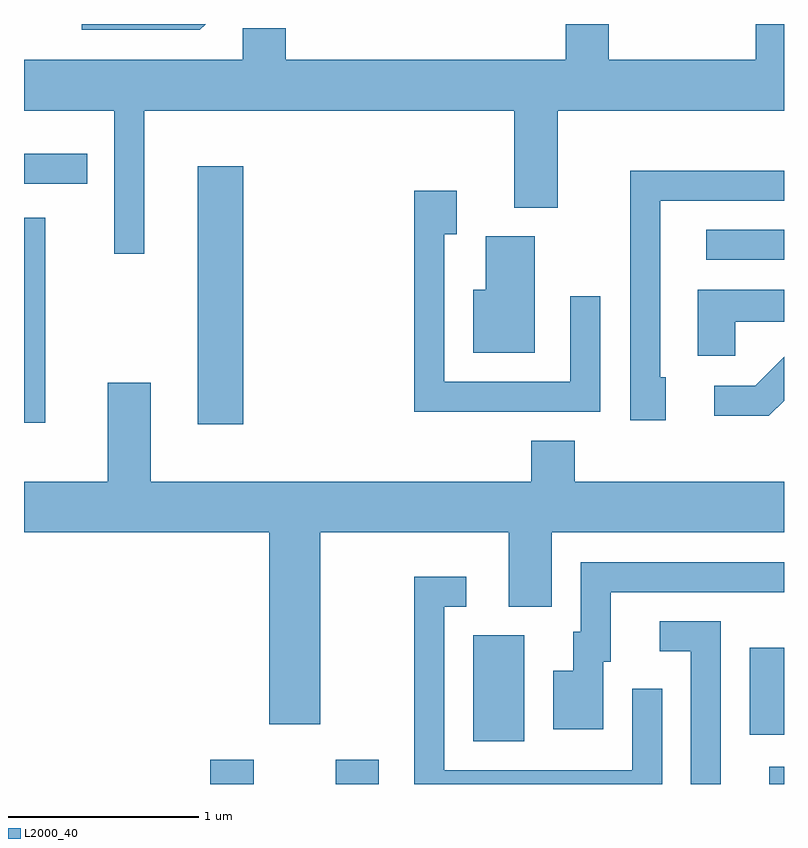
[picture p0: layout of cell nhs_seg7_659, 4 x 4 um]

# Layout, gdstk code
import gdstk
lib = gdstk.Library(unit=1e-6, precision=1e-09)
def R(c, l, rs):  # rectangles x0, y0, x1, y1
    for r in rs: c.add(gdstk.rectangle(r[:2], r[2:], *l))
def P(c, l, *ps):  # polygons
    for p in ps: c.add(gdstk.Polygon(p, *l))
L2000_40 = (2000, 40)

nhs_seg7_659 = lib.new_cell('nhs_seg7_659')
R(nhs_seg7_659, L2000_40, [(204.591,1786.252,204.819,1786.379), (205.251,1786.252,205.479,1786.379), (207.533,1786.252,207.611,1786.344), (205.976,1786.476,206.244,1787.034), (207.431,1786.511,207.611,1786.969), (204.526,1788.146,204.764,1789.504), (203.611,1788.153,203.724,1789.233), (207.203,1789.011,207.611,1789.169), (203.611,1789.411,203.943,1789.569)])
P(nhs_seg7_659, L2000_40, [(204.244,1789.796),(206.191,1789.796),(206.191,1789.286),(206.419,1789.286),(206.419,1789.796),(207.611,1789.796),(207.611,1790.252),(207.461,1790.252),(207.461,1790.064),(206.689,1790.064),(206.689,1790.252),(206.461,1790.252),(206.461,1790.064),(204.989,1790.064),(204.989,1790.229),(204.761,1790.229),(204.761,1790.064),(203.611,1790.064),(203.611,1789.796),(204.086,1789.796),(204.086,1789.043),(204.244,1789.043)],
  [(204.568,1790.252),(203.916,1790.252),(203.916,1790.221),(204.537,1790.221)],
  [(206.989,1788.394),(206.959,1788.394),(206.959,1789.321),(207.611,1789.321),(207.611,1789.479),(206.801,1789.479),(206.801,1788.166),(206.989,1788.166)],
  [(206.644,1788.818),(206.486,1788.818),(206.486,1788.369),(205.824,1788.369),(205.824,1789.146),(205.889,1789.146),(205.889,1789.374),(205.666,1789.374),(205.666,1788.211),(206.644,1788.211)],
  [(206.299,1789.134),(206.041,1789.134),(206.041,1788.854),(205.976,1788.854),(205.976,1788.521),(206.299,1788.521)],
  [(207.354,1788.686),(207.611,1788.686),(207.611,1788.854),(207.156,1788.854),(207.156,1788.506),(207.354,1788.506)],
  [(207.611,1788.27),(207.611,1788.501),(207.459,1788.349),(207.243,1788.349),(207.243,1788.191),(207.532,1788.191)],
  [(205.169,1787.576),(206.161,1787.576),(206.161,1787.186),(206.389,1787.186),(206.389,1787.576),(207.611,1787.576),(207.611,1787.844),(206.509,1787.844),(206.509,1788.059),(206.281,1788.059),(206.281,1787.844),(204.279,1787.844),(204.279,1788.364),(204.051,1788.364),(204.051,1787.844),(203.611,1787.844),(203.611,1787.576),(204.901,1787.576),(204.901,1786.566),(205.169,1786.566)],
  [(206.659,1786.896),(206.699,1786.896),(206.699,1787.261),(207.611,1787.261),(207.611,1787.419),(206.541,1787.419),(206.541,1787.054),(206.501,1787.054),(206.501,1786.849),(206.396,1786.849),(206.396,1786.541),(206.659,1786.541)],
  [(206.969,1786.753),(206.811,1786.753),(206.811,1786.324),(205.824,1786.324),(205.824,1787.186),(205.938,1787.186),(205.938,1787.344),(205.666,1787.344),(205.666,1786.252),(206.969,1786.252)],
  [(207.279,1787.109),(206.958,1787.109),(206.958,1786.951),(207.121,1786.951),(207.121,1786.252),(207.279,1786.252)])

lib.write_gds('nhs_seg7_659.gds')
